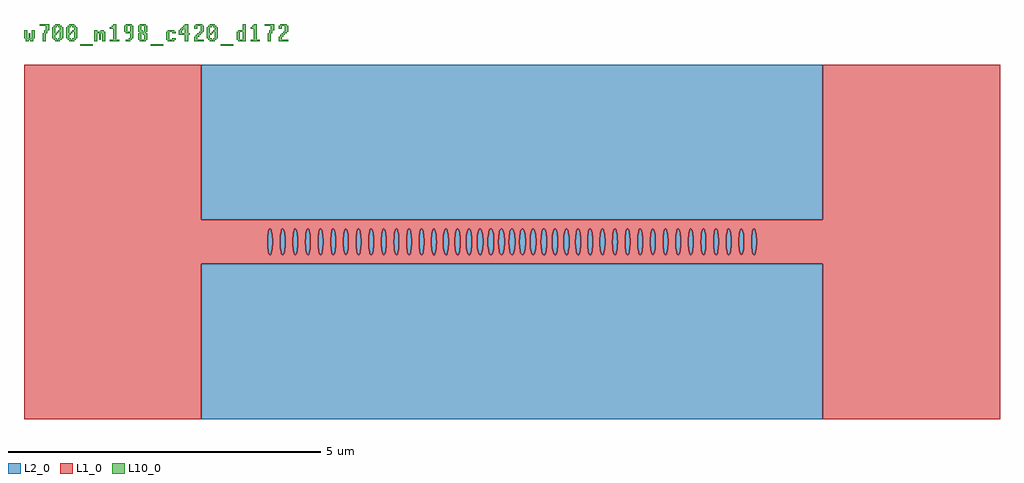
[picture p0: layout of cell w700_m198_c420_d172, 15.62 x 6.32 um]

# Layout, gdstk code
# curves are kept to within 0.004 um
import gdstk
lib = gdstk.Library(unit=1e-6, precision=1e-09)
def R(c, l, rs):  # rectangles x0, y0, x1, y1
    for r in rs: c.add(gdstk.rectangle(r[:2], r[2:], *l))
def A(c, l, x, y, w, h, nx, ny, dx, dy):  # array of equal rectangles
    R(c, l, [(x+i*dx, y+j*dy, x+i*dx+w, y+j*dy+h) for i in range(nx) for j in range(ny)])
def P(c, l, *ps):  # polygons
    for p in ps: c.add(gdstk.Polygon(p, *l))
L1_0 = (1, 0)
L2_0 = (2, 0)
L10_0 = (10, 0)

w700_m198_c420_d172 = lib.new_cell('w700_m198_c420_d172')
P(w700_m198_c420_d172, L1_0, [(-4.973,-2.835),(-4.973,-0.35),(-2.901,-0.35),(-2.901,0.35),(-4.973,0.35),(-4.973,2.835),(-7.808,2.835),(-7.808,-0.02),(-3.912,-0.02),(-3.911,0.059),(-3.899,0.159),(-3.885,0.198),(-3.87,0.21),(-3.855,0.191),(-3.843,0.145),(-3.834,0.078),(-3.832,-0.02),(-3.71,-0.02),(-3.702,0.13),(-3.69,0.182),(-3.683,0.198),(-3.668,0.21),(-3.653,0.191),(-3.64,0.145),(-3.629,-0.02),(-3.508,-0.02),(-3.506,0.059),(-3.494,0.159),(-3.481,0.198),(-3.465,0.21),(-3.451,0.191),(-3.438,0.145),(-3.427,-0.02),(-3.305,-0.02),(-3.304,0.059),(-3.292,0.159),(-3.278,0.198),(-3.263,0.21),(-3.248,0.191),(-3.236,0.145),(-3.225,-0.02),(-3.103,-0.02),(-3.099,0.096),(-3.083,0.182),(-3.069,0.208),(-3.061,0.21),(-3.046,0.191),(-3.029,0.114),(-3.022,-0.02),(-3.039,-0.171),(-3.053,-0.204),(-3.061,-0.21),(-3.076,-0.198),(-3.089,-0.159),(-3.103,-0.02),(-3.225,-0.02),(-3.236,-0.145),(-3.248,-0.191),(-3.263,-0.21),(-3.278,-0.198),(-3.292,-0.159),(-3.305,-0.02),(-3.427,-0.02),(-3.438,-0.145),(-3.451,-0.191),(-3.465,-0.21),(-3.481,-0.198),(-3.494,-0.159),(-3.508,-0.02),(-3.629,-0.02),(-3.64,-0.145),(-3.653,-0.191),(-3.668,-0.21),(-3.683,-0.198),(-3.696,-0.159),(-3.71,-0.02),(-3.832,-0.02),(-3.843,-0.145),(-3.855,-0.191),(-3.87,-0.21),(-3.885,-0.198),(-3.899,-0.159),(-3.912,-0.02),(-7.808,-0.02),(-7.808,-2.835)],
  [(-1.888,0.059),(-1.881,0.13),(-1.881,0.35),(-2.901,0.35),(-2.901,0.02),(-2.887,0.159),(-2.874,0.198),(-2.859,0.21),(-2.844,0.191),(-2.831,0.145),(-2.82,-0.02),(-2.699,-0.02),(-2.697,0.059),(-2.685,0.159),(-2.671,0.198),(-2.656,0.21),(-2.641,0.191),(-2.629,0.145),(-2.618,-0.02),(-2.496,-0.02),(-2.488,0.13),(-2.476,0.182),(-2.462,0.208),(-2.454,0.21),(-2.439,0.191),(-2.427,0.145),(-2.418,0.078),(-2.415,-0.02),(-2.294,-0.02),(-2.29,0.096),(-2.28,0.159),(-2.267,0.198),(-2.252,0.21),(-2.237,0.191),(-2.224,0.145),(-2.213,-0.02),(-2.092,-0.02),(-2.09,0.059),(-2.078,0.159),(-2.065,0.198),(-2.049,0.21),(-2.035,0.191),(-2.022,0.145),(-2.011,0),(-2.022,-0.145),(-2.035,-0.191),(-2.049,-0.21),(-2.065,-0.198),(-2.078,-0.159),(-2.092,-0.02),(-2.213,-0.02),(-2.224,-0.145),(-2.237,-0.191),(-2.252,-0.21),(-2.267,-0.198),(-2.28,-0.159),(-2.294,-0.02),(-2.415,-0.02),(-2.432,-0.171),(-2.446,-0.204),(-2.454,-0.21),(-2.469,-0.198),(-2.482,-0.159),(-2.496,-0.02),(-2.618,-0.02),(-2.629,-0.145),(-2.641,-0.191),(-2.656,-0.21),(-2.671,-0.198),(-2.685,-0.159),(-2.699,-0.02),(-2.82,-0.02),(-2.831,-0.145),(-2.844,-0.191),(-2.859,-0.21),(-2.874,-0.198),(-2.887,-0.159),(-2.901,-0.02),(-2.901,-0.35),(-1.881,-0.35)],
  [(-0.914,0.059),(-0.906,0.131),(-0.893,0.183),(-0.893,0.35),(-1.881,0.35),(-1.881,0.13),(-1.869,0.182),(-1.855,0.208),(-1.847,0.21),(-1.832,0.191),(-1.811,0.078),(-1.809,-0.02),(-1.688,-0.02),(-1.686,0.059),(-1.674,0.159),(-1.661,0.199),(-1.645,0.21),(-1.63,0.191),(-1.618,0.145),(-1.609,0.078),(-1.606,-0.02),(-1.488,-0.02),(-1.48,0.13),(-1.461,0.199),(-1.445,0.21),(-1.43,0.191),(-1.417,0.145),(-1.406,-0.02),(-1.293,-0.02),(-1.284,0.13),(-1.272,0.183),(-1.257,0.209),(-1.248,0.211),(-1.233,0.192),(-1.22,0.145),(-1.211,0.078),(-1.208,-0.02),(-1.102,-0.02),(-1.097,0.097),(-1.087,0.16),(-1.072,0.199),(-1.056,0.211),(-1.04,0.192),(-1.026,0.146),(-1.014,0),(-1.026,-0.146),(-1.04,-0.192),(-1.056,-0.211),(-1.072,-0.199),(-1.087,-0.16),(-1.102,-0.02),(-1.208,-0.02),(-1.22,-0.145),(-1.233,-0.192),(-1.248,-0.211),(-1.264,-0.199),(-1.278,-0.159),(-1.293,-0.02),(-1.406,-0.02),(-1.417,-0.145),(-1.43,-0.191),(-1.445,-0.21),(-1.461,-0.199),(-1.474,-0.159),(-1.488,-0.02),(-1.606,-0.02),(-1.618,-0.145),(-1.63,-0.191),(-1.645,-0.21),(-1.661,-0.199),(-1.674,-0.159),(-1.688,-0.02),(-1.809,-0.02),(-1.82,-0.145),(-1.839,-0.204),(-1.855,-0.208),(-1.862,-0.198),(-1.881,-0.13),(-1.881,-0.35),(-0.893,-0.35),(-0.893,-0.183),(-0.911,-0.097)],
  [(-0.048,0.059),(-0.033,0.159),(-0.016,0.198),(0.002,0.21),(0.002,0.35),(-0.893,0.35),(-0.893,0.183),(-0.877,0.209),(-0.868,0.211),(-0.844,0.172),(-0.829,0.078),(-0.825,-0.02),(-0.735,-0.02),(-0.73,0.097),(-0.719,0.16),(-0.703,0.199),(-0.686,0.211),(-0.669,0.192),(-0.655,0.146),(-0.642,0.04),(-0.642,-0.02),(-0.559,-0.02),(-0.549,0.13),(-0.535,0.183),(-0.518,0.209),(-0.509,0.211),(-0.491,0.192),(-0.476,0.145),(-0.466,0.078),(-0.463,-0.02),(-0.387,-0.02),(-0.385,0.059),(-0.37,0.159),(-0.354,0.199),(-0.335,0.21),(-0.317,0.191),(-0.302,0.145),(-0.292,0.078),(-0.289,-0.02),(-0.218,-0.02),(-0.216,0.059),(-0.201,0.159),(-0.184,0.199),(-0.166,0.21),(-0.147,0.191),(-0.132,0.145),(-0.118,0),(-0.132,-0.145),(-0.147,-0.191),(-0.166,-0.21),(-0.184,-0.199),(-0.201,-0.159),(-0.218,-0.02),(-0.289,-0.02),(-0.302,-0.145),(-0.317,-0.191),(-0.335,-0.21),(-0.354,-0.199),(-0.37,-0.159),(-0.387,-0.02),(-0.463,-0.02),(-0.476,-0.145),(-0.491,-0.192),(-0.509,-0.211),(-0.527,-0.199),(-0.542,-0.159),(-0.554,-0.097),(-0.559,-0.02),(-0.642,-0.02),(-0.655,-0.146),(-0.669,-0.192),(-0.686,-0.211),(-0.703,-0.199),(-0.719,-0.16),(-0.735,-0.02),(-0.825,-0.02),(-0.838,-0.146),(-0.852,-0.192),(-0.868,-0.211),(-0.877,-0.209),(-0.893,-0.183),(-0.893,-0.35),(0.002,-0.35),(0.002,-0.21),(-0.007,-0.208),(-0.025,-0.182),(-0.04,-0.13),(-0.05,-0.02)],
  [(0.827,0.059),(0.835,0.131),(0.848,0.183),(0.864,0.209),(0.873,0.211),(0.889,0.192),(0.889,0.35),(0.002,0.35),(0.002,0.21),(0.021,0.191),(0.036,0.145),(0.047,0.078),(0.05,-0.02),(0.118,-0.02),(0.12,0.059),(0.135,0.159),(0.152,0.199),(0.17,0.21),(0.189,0.191),(0.204,0.145),(0.214,0.078),(0.218,-0.02),(0.289,-0.02),(0.299,0.13),(0.313,0.182),(0.322,0.199),(0.34,0.21),(0.358,0.191),(0.373,0.145),(0.383,0.078),(0.387,-0.02),(0.463,-0.02),(0.468,0.097),(0.479,0.159),(0.495,0.199),(0.513,0.211),(0.531,0.192),(0.546,0.145),(0.559,-0.02),(0.642,-0.02),(0.647,0.097),(0.658,0.16),(0.673,0.199),(0.69,0.211),(0.708,0.192),(0.722,0.146),(0.735,0),(0.722,-0.146),(0.708,-0.192),(0.69,-0.211),(0.673,-0.199),(0.658,-0.16),(0.642,-0.02),(0.559,-0.02),(0.546,-0.145),(0.531,-0.192),(0.513,-0.211),(0.495,-0.199),(0.479,-0.159),(0.463,-0.02),(0.387,-0.02),(0.373,-0.145),(0.358,-0.191),(0.34,-0.21),(0.322,-0.199),(0.306,-0.159),(0.294,-0.096),(0.289,-0.02),(0.218,-0.02),(0.204,-0.145),(0.189,-0.191),(0.17,-0.21),(0.152,-0.199),(0.135,-0.159),(0.118,-0.02),(0.05,-0.02),(0.036,-0.145),(0.021,-0.191),(0.002,-0.21),(0.002,-0.35),(0.889,-0.35),(0.889,-0.192),(0.873,-0.211),(0.864,-0.209),(0.841,-0.16),(0.827,-0.059)],
  [(1.81,0.059),(1.823,0.159),(1.843,0.208),(1.859,0.204),(1.878,0.145),(1.878,0.35),(0.889,0.35),(0.889,0.192),(0.909,0.114),(0.916,-0.02),(1.015,-0.02),(1.016,0.059),(1.029,0.16),(1.044,0.199),(1.06,0.211),(1.076,0.192),(1.09,0.146),(1.099,0.078),(1.102,-0.02),(1.208,-0.02),(1.217,0.13),(1.229,0.183),(1.244,0.209),(1.252,0.211),(1.268,0.192),(1.281,0.145),(1.29,0.078),(1.293,-0.02),(1.406,-0.02),(1.407,0.059),(1.42,0.159),(1.434,0.199),(1.449,0.21),(1.464,0.191),(1.477,0.145),(1.486,0.078),(1.489,-0.02),(1.607,-0.02),(1.615,0.13),(1.634,0.199),(1.649,0.21),(1.664,0.191),(1.677,0.145),(1.688,0),(1.677,-0.145),(1.664,-0.191),(1.649,-0.21),(1.634,-0.199),(1.621,-0.159),(1.607,-0.02),(1.489,-0.02),(1.477,-0.145),(1.464,-0.191),(1.449,-0.21),(1.434,-0.199),(1.42,-0.159),(1.406,-0.02),(1.293,-0.02),(1.281,-0.145),(1.268,-0.192),(1.252,-0.211),(1.237,-0.199),(1.223,-0.159),(1.208,-0.02),(1.102,-0.02),(1.09,-0.146),(1.076,-0.192),(1.06,-0.211),(1.044,-0.199),(1.029,-0.16),(1.015,-0.02),(0.916,-0.02),(0.909,-0.114),(0.889,-0.192),(0.889,-0.35),(1.878,-0.35),(1.878,-0.145),(1.859,-0.204),(1.843,-0.208),(1.829,-0.182),(1.81,-0.059)],
  [(2.822,0.059),(2.84,0.182),(2.847,0.198),(2.862,0.21),(2.877,0.191),(2.89,0.145),(2.9,0.04),(2.9,0.35),(1.878,0.35),(1.878,0.145),(1.887,0.078),(1.889,-0.02),(2.011,-0.02),(2.012,0.059),(2.025,0.159),(2.038,0.198),(2.053,0.21),(2.068,0.191),(2.081,0.145),(2.092,-0.02),(2.213,-0.02),(2.215,0.059),(2.227,0.159),(2.24,0.198),(2.256,0.21),(2.27,0.191),(2.283,0.145),(2.294,-0.02),(2.416,-0.02),(2.417,0.059),(2.429,0.159),(2.443,0.198),(2.458,0.21),(2.473,0.191),(2.485,0.145),(2.496,-0.02),(2.618,-0.02),(2.626,0.13),(2.638,0.182),(2.652,0.208),(2.66,0.21),(2.675,0.191),(2.688,0.145),(2.699,0),(2.688,-0.145),(2.675,-0.191),(2.66,-0.21),(2.645,-0.198),(2.632,-0.159),(2.618,-0.02),(2.496,-0.02),(2.485,-0.145),(2.473,-0.191),(2.458,-0.21),(2.443,-0.198),(2.429,-0.159),(2.416,-0.02),(2.294,-0.02),(2.283,-0.145),(2.27,-0.191),(2.256,-0.21),(2.24,-0.198),(2.227,-0.159),(2.213,-0.02),(2.092,-0.02),(2.081,-0.145),(2.068,-0.191),(2.053,-0.21),(2.038,-0.198),(2.025,-0.159),(2.011,-0.02),(1.889,-0.02),(1.878,-0.145),(1.878,-0.35),(2.9,-0.35),(2.9,-0.04),(2.895,-0.114),(2.884,-0.171),(2.87,-0.204),(2.862,-0.21),(2.847,-0.198),(2.834,-0.159),(2.825,-0.096)],
  [(2.9,-0.35),(4.973,-0.35),(4.973,-2.835),(7.808,-2.835),(7.808,2.835),(4.973,2.835),(4.973,0.35),(2.9,0.35),(2.901,-0.02),(3.023,-0.02),(3.024,0.059),(3.036,0.159),(3.05,0.198),(3.065,0.21),(3.08,0.191),(3.092,0.145),(3.103,-0.02),(3.225,-0.02),(3.233,0.13),(3.245,0.182),(3.259,0.208),(3.267,0.21),(3.282,0.191),(3.294,0.145),(3.303,0.078),(3.306,-0.02),(3.427,-0.02),(3.431,0.096),(3.441,0.159),(3.454,0.198),(3.469,0.21),(3.484,0.191),(3.497,0.145),(3.508,-0.02),(3.629,-0.02),(3.631,0.059),(3.643,0.159),(3.656,0.198),(3.672,0.21),(3.687,0.191),(3.699,0.145),(3.71,-0.02),(3.832,-0.02),(3.84,0.13),(3.852,0.182),(3.866,0.208),(3.882,0.204),(3.895,0.171),(3.912,0.04),(3.906,-0.114),(3.889,-0.191),(3.874,-0.21),(3.859,-0.198),(3.846,-0.159),(3.832,-0.02),(3.71,-0.02),(3.699,-0.145),(3.687,-0.191),(3.672,-0.21),(3.656,-0.198),(3.643,-0.159),(3.629,-0.02),(3.508,-0.02),(3.497,-0.145),(3.484,-0.191),(3.469,-0.21),(3.454,-0.198),(3.441,-0.159),(3.427,-0.02),(3.306,-0.02),(3.289,-0.171),(3.275,-0.204),(3.267,-0.21),(3.252,-0.198),(3.239,-0.159),(3.225,-0.02),(3.103,-0.02),(3.092,-0.145),(3.08,-0.191),(3.065,-0.21),(3.05,-0.198),(3.036,-0.159),(3.023,-0.02),(2.901,-0.02)])
R(w700_m198_c420_d172, L2_0, [(-4.973,-2.835,4.973,-0.35), (-4.973,0.35,4.973,2.835)])
P(w700_m198_c420_d172, L2_0, [(2.825,-0.096),(2.84,-0.182),(2.847,-0.198),(2.862,-0.21),(2.87,-0.204),(2.884,-0.171),(2.895,-0.114),(2.901,-0.02),(2.895,0.114),(2.884,0.171),(2.87,0.204),(2.862,0.21),(2.847,0.198),(2.84,0.182),(2.829,0.13),(2.82,0.02)],
  [(-3.706,-0.096),(-3.69,-0.182),(-3.683,-0.198),(-3.668,-0.21),(-3.66,-0.204),(-3.646,-0.171),(-3.636,-0.114),(-3.629,-0.02),(-3.632,0.078),(-3.646,0.171),(-3.66,0.204),(-3.668,0.21),(-3.683,0.198),(-3.69,0.182),(-3.702,0.13),(-3.71,0.02)],
  [(3.634,-0.096),(3.649,-0.182),(3.664,-0.208),(3.672,-0.21),(3.687,-0.191),(3.704,-0.114),(3.71,-0.02),(3.704,0.114),(3.687,0.191),(3.672,0.21),(3.664,0.208),(3.649,0.182),(3.638,0.13),(3.629,0.02)],
  [(3.507,0.04),(3.497,0.145),(3.477,0.204),(3.469,0.21),(3.454,0.198),(3.436,0.13),(3.427,0.02),(3.431,-0.096),(3.447,-0.182),(3.454,-0.198),(3.469,-0.21),(3.484,-0.191),(3.497,-0.145),(3.505,-0.078)],
  [(3.305,0.04),(3.294,0.145),(3.275,0.204),(3.259,0.208),(3.252,0.198),(3.233,0.13),(3.225,0.02),(3.229,-0.096),(3.245,-0.182),(3.259,-0.208),(3.267,-0.21),(3.275,-0.204),(3.289,-0.171),(3.299,-0.114)],
  [(3.1,0.078),(3.086,0.171),(3.08,0.191),(3.065,0.21),(3.057,0.208),(3.043,0.182),(3.031,0.13),(3.023,0.02),(3.027,-0.096),(3.043,-0.182),(3.057,-0.208),(3.065,-0.21),(3.08,-0.191),(3.097,-0.114),(3.103,-0.04)],
  [(-3.834,0.078),(-3.849,0.171),(-3.855,0.191),(-3.87,0.21),(-3.878,0.208),(-3.892,0.182),(-3.904,0.13),(-3.912,0.02),(-3.908,-0.096),(-3.892,-0.182),(-3.878,-0.208),(-3.87,-0.21),(-3.855,-0.191),(-3.838,-0.114),(-3.832,-0.04)],
  [(2.698,0.04),(2.688,0.145),(2.668,0.204),(2.652,0.208),(2.645,0.198),(2.626,0.13),(2.618,0.02),(2.622,-0.096),(2.638,-0.182),(2.652,-0.208),(2.66,-0.21),(2.675,-0.191),(2.688,-0.145),(2.696,-0.078)],
  [(2.493,0.078),(2.479,0.171),(2.473,0.191),(2.458,0.21),(2.45,0.208),(2.436,0.182),(2.424,0.13),(2.416,0.02),(2.42,-0.096),(2.436,-0.182),(2.45,-0.208),(2.458,-0.21),(2.473,-0.191),(2.49,-0.114),(2.496,-0.04)],
  [(2.293,0.04),(2.283,0.145),(2.263,0.204),(2.248,0.208),(2.24,0.198),(2.222,0.13),(2.213,0.02),(2.218,-0.096),(2.233,-0.182),(2.248,-0.208),(2.256,-0.21),(2.277,-0.171),(2.288,-0.114)],
  [(2.091,0.04),(2.081,0.145),(2.061,0.204),(2.053,0.21),(2.038,0.198),(2.02,0.13),(2.011,0.02),(2.015,-0.096),(2.031,-0.182),(2.038,-0.198),(2.053,-0.21),(2.068,-0.191),(2.081,-0.145),(2.089,-0.078)],
  [(1.887,0.078),(1.872,0.171),(1.866,0.191),(1.851,0.21),(1.843,0.208),(1.829,0.182),(1.817,0.13),(1.809,0.02),(1.813,-0.096),(1.829,-0.182),(1.843,-0.208),(1.851,-0.21),(1.866,-0.191),(1.883,-0.114),(1.889,-0.04)],
  [(1.687,0.04),(1.677,0.145),(1.657,0.204),(1.649,0.21),(1.634,0.199),(1.615,0.13),(1.607,0.02),(1.611,-0.096),(1.627,-0.182),(1.641,-0.208),(1.649,-0.21),(1.664,-0.191),(1.677,-0.145),(1.685,-0.078)],
  [(1.488,0.04),(1.477,0.145),(1.457,0.205),(1.441,0.208),(1.434,0.199),(1.415,0.13),(1.406,0.02),(1.41,-0.096),(1.427,-0.182),(1.441,-0.208),(1.449,-0.21),(1.457,-0.205),(1.471,-0.171),(1.482,-0.114)],
  [(1.292,0.04),(1.281,0.145),(1.26,0.205),(1.244,0.209),(1.237,0.199),(1.217,0.13),(1.208,0.02),(1.213,-0.097),(1.229,-0.183),(1.244,-0.209),(1.252,-0.211),(1.268,-0.192),(1.286,-0.114)],
  [(1.101,0.04),(1.09,0.146),(1.068,0.205),(1.06,0.211),(1.044,0.199),(1.024,0.13),(1.015,0.02),(1.019,-0.097),(1.036,-0.183),(1.052,-0.209),(1.06,-0.211),(1.076,-0.192),(1.09,-0.146),(1.099,-0.078)],
  [(0.915,0.04),(0.903,0.146),(0.881,0.205),(0.873,0.211),(0.856,0.2),(0.835,0.131),(0.826,0.02),(0.83,-0.097),(0.848,-0.183),(0.864,-0.209),(0.873,-0.211),(0.897,-0.172),(0.909,-0.114)],
  [(0.734,0.04),(0.722,0.146),(0.699,0.205),(0.69,0.211),(0.673,0.199),(0.652,0.13),(0.642,0.02),(0.647,-0.097),(0.665,-0.183),(0.673,-0.199),(0.69,-0.211),(0.708,-0.192),(0.722,-0.146),(0.732,-0.078)],
  [(0.558,0.04),(0.546,0.145),(0.522,0.205),(0.513,0.211),(0.495,0.199),(0.473,0.13),(0.463,0.02),(0.468,-0.097),(0.487,-0.183),(0.504,-0.209),(0.513,-0.211),(0.531,-0.192),(0.546,-0.145),(0.558,-0.04)],
  [(0.386,0.04),(0.373,0.145),(0.349,0.205),(0.34,0.21),(0.322,0.199),(0.299,0.13),(0.289,0.02),(0.294,-0.096),(0.313,-0.182),(0.322,-0.199),(0.34,-0.21),(0.358,-0.191),(0.379,-0.114)],
  [(0.217,0.04),(0.204,0.145),(0.18,0.204),(0.17,0.21),(0.152,0.199),(0.129,0.13),(0.118,0.02),(0.124,-0.096),(0.143,-0.182),(0.152,-0.199),(0.17,-0.21),(0.189,-0.191),(0.21,-0.114)],
  [(0.049,0.04),(0.036,0.145),(0.012,0.204),(0.002,0.21),(-0.016,0.198),(-0.04,0.13),(-0.05,0.02),(-0.045,-0.096),(-0.025,-0.182),(-0.007,-0.208),(0.002,-0.21),(0.021,-0.191),(0.042,-0.114)],
  [(-0.119,0.04),(-0.132,0.145),(-0.156,0.204),(-0.166,0.21),(-0.184,0.199),(-0.207,0.13),(-0.218,0.02),(-0.212,-0.096),(-0.193,-0.182),(-0.184,-0.199),(-0.166,-0.21),(-0.147,-0.191),(-0.126,-0.114)],
  [(-0.29,0.04),(-0.302,0.145),(-0.326,0.205),(-0.345,0.208),(-0.354,0.199),(-0.37,0.159),(-0.385,0.059),(-0.385,-0.059),(-0.37,-0.159),(-0.345,-0.208),(-0.326,-0.205),(-0.302,-0.145),(-0.292,-0.078)],
  [(-0.464,0.04),(-0.476,0.145),(-0.5,0.205),(-0.509,0.211),(-0.527,0.199),(-0.549,0.13),(-0.559,0.02),(-0.554,-0.097),(-0.535,-0.183),(-0.518,-0.209),(-0.509,-0.211),(-0.491,-0.192),(-0.47,-0.114)],
  [(-0.645,0.078),(-0.661,0.172),(-0.677,0.205),(-0.686,0.211),(-0.695,0.209),(-0.712,0.183),(-0.73,0.097),(-0.735,0.02),(-0.73,-0.097),(-0.712,-0.183),(-0.695,-0.209),(-0.686,-0.211),(-0.677,-0.205),(-0.661,-0.172),(-0.649,-0.114),(-0.642,-0.04)],
  [(-0.826,0.04),(-0.838,0.146),(-0.86,0.205),(-0.868,0.211),(-0.885,0.2),(-0.906,0.131),(-0.916,0.02),(-0.911,-0.097),(-0.893,-0.183),(-0.877,-0.209),(-0.868,-0.211),(-0.852,-0.192),(-0.838,-0.146),(-0.826,-0.04)],
  [(-1.015,0.04),(-1.026,0.146),(-1.048,0.205),(-1.056,0.211),(-1.072,0.199),(-1.092,0.13),(-1.102,0.02),(-1.097,-0.097),(-1.08,-0.183),(-1.064,-0.209),(-1.056,-0.211),(-1.04,-0.192),(-1.026,-0.146),(-1.017,-0.078)],
  [(-1.209,0.04),(-1.22,0.145),(-1.24,0.205),(-1.248,0.211),(-1.257,0.209),(-1.264,0.199),(-1.284,0.13),(-1.293,0.02),(-1.288,-0.097),(-1.272,-0.183),(-1.257,-0.209),(-1.248,-0.211),(-1.24,-0.205),(-1.226,-0.172),(-1.215,-0.114)],
  [(-1.407,0.04),(-1.417,0.145),(-1.437,0.205),(-1.445,0.21),(-1.461,0.199),(-1.48,0.13),(-1.488,0.02),(-1.484,-0.096),(-1.468,-0.182),(-1.461,-0.199),(-1.445,-0.21),(-1.437,-0.205),(-1.423,-0.171),(-1.412,-0.114)],
  [(-1.607,0.04),(-1.618,0.145),(-1.638,0.204),(-1.645,0.21),(-1.661,0.199),(-1.679,0.13),(-1.688,0.02),(-1.683,-0.096),(-1.668,-0.182),(-1.661,-0.199),(-1.645,-0.21),(-1.63,-0.191),(-1.613,-0.114)],
  [(-1.811,0.078),(-1.826,0.171),(-1.832,0.191),(-1.847,0.21),(-1.855,0.208),(-1.869,0.182),(-1.881,0.13),(-1.889,0.02),(-1.885,-0.096),(-1.869,-0.182),(-1.855,-0.208),(-1.847,-0.21),(-1.832,-0.191),(-1.815,-0.114),(-1.809,-0.04)],
  [(-2.012,0.04),(-2.022,0.145),(-2.042,0.204),(-2.057,0.208),(-2.065,0.198),(-2.083,0.13),(-2.092,0.02),(-2.087,-0.096),(-2.072,-0.182),(-2.057,-0.208),(-2.049,-0.21),(-2.028,-0.171),(-2.017,-0.114)],
  [(-2.214,0.04),(-2.224,0.145),(-2.244,0.204),(-2.252,0.21),(-2.267,0.198),(-2.285,0.13),(-2.294,0.02),(-2.29,-0.096),(-2.274,-0.182),(-2.267,-0.198),(-2.252,-0.21),(-2.237,-0.191),(-2.224,-0.145),(-2.216,-0.078)],
  [(-2.416,0.04),(-2.427,0.145),(-2.446,0.204),(-2.462,0.208),(-2.469,0.198),(-2.488,0.13),(-2.496,0.02),(-2.492,-0.096),(-2.476,-0.182),(-2.462,-0.208),(-2.454,-0.21),(-2.446,-0.204),(-2.432,-0.171),(-2.422,-0.114)],
  [(-2.621,0.078),(-2.635,0.171),(-2.641,0.191),(-2.656,0.21),(-2.664,0.208),(-2.678,0.182),(-2.69,0.13),(-2.699,0.02),(-2.694,-0.096),(-2.678,-0.182),(-2.664,-0.208),(-2.656,-0.21),(-2.641,-0.191),(-2.624,-0.114),(-2.618,-0.04)],
  [(-2.821,0.04),(-2.831,0.145),(-2.851,0.204),(-2.859,0.21),(-2.874,0.198),(-2.892,0.13),(-2.901,0.02),(-2.896,-0.096),(-2.881,-0.182),(-2.874,-0.198),(-2.859,-0.21),(-2.851,-0.204),(-2.837,-0.171),(-2.826,-0.114)],
  [(-3.023,0.04),(-3.034,0.145),(-3.053,0.204),(-3.069,0.208),(-3.076,0.198),(-3.095,0.13),(-3.103,0.02),(-3.099,-0.096),(-3.083,-0.182),(-3.069,-0.208),(-3.061,-0.21),(-3.053,-0.204),(-3.039,-0.171),(-3.029,-0.114)],
  [(-3.228,0.078),(-3.242,0.171),(-3.248,0.191),(-3.263,0.21),(-3.271,0.208),(-3.285,0.182),(-3.297,0.13),(-3.305,0.02),(-3.301,-0.096),(-3.285,-0.182),(-3.271,-0.208),(-3.263,-0.21),(-3.248,-0.191),(-3.231,-0.114),(-3.225,-0.04)],
  [(-3.428,0.04),(-3.438,0.145),(-3.458,0.204),(-3.473,0.208),(-3.481,0.198),(-3.499,0.13),(-3.508,0.02),(-3.503,-0.096),(-3.488,-0.182),(-3.473,-0.208),(-3.465,-0.21),(-3.444,-0.171),(-3.433,-0.114)],
  [(3.836,-0.096),(3.852,-0.182),(3.866,-0.208),(3.874,-0.21),(3.889,-0.191),(3.906,-0.114),(3.912,-0.04),(3.91,0.078),(3.895,0.171),(3.889,0.191),(3.874,0.21),(3.866,0.208),(3.852,0.182),(3.84,0.13),(3.832,0.02)])
A(w700_m198_c420_d172, L10_0, -6.908, 3.135, 0.2, 0.025, 3, 1, 1.125, 0)
R(w700_m198_c420_d172, L10_0, [(-7.283,3.335,-7.258,3.36), (-7.058,3.335,-7.033,3.36), (-4.808,3.335,-4.783,3.36)])
P(w700_m198_c420_d172, L10_0, [(-7.783,3.26),(-7.783,3.21),(-7.733,3.21),(-7.733,3.235),(-7.708,3.235),(-7.708,3.21),(-7.658,3.21),(-7.658,3.26),(-7.633,3.26),(-7.633,3.385),(-7.683,3.385),(-7.683,3.26),(-7.708,3.26),(-7.708,3.335),(-7.733,3.335),(-7.733,3.26),(-7.758,3.26),(-7.758,3.385),(-7.808,3.385),(-7.808,3.26)],
  [(-7.458,3.385),(-7.483,3.385),(-7.483,3.335),(-7.508,3.335),(-7.508,3.21),(-7.458,3.21),(-7.458,3.335),(-7.433,3.335),(-7.433,3.385),(-7.408,3.385),(-7.408,3.485),(-7.558,3.485),(-7.558,3.46),(-7.458,3.46)],
  [(-7.208,3.26),(-7.183,3.26),(-7.183,3.435),(-7.208,3.435),(-7.208,3.46),(-7.233,3.46),(-7.233,3.485),(-7.308,3.485),(-7.308,3.46),(-7.333,3.46),(-7.333,3.435),(-7.358,3.435),(-7.358,3.26),(-7.308,3.26),(-7.308,3.31),(-7.283,3.31),(-7.283,3.335),(-7.308,3.335),(-7.308,3.435),(-7.283,3.435),(-7.283,3.46),(-7.258,3.46),(-7.258,3.435),(-7.233,3.435),(-7.233,3.385),(-7.258,3.385),(-7.258,3.36),(-7.233,3.36),(-7.233,3.26),(-7.258,3.26),(-7.258,3.235),(-7.283,3.235),(-7.283,3.26),(-7.308,3.26),(-7.358,3.26),(-7.333,3.26),(-7.333,3.235),(-7.308,3.235),(-7.308,3.21),(-7.233,3.21),(-7.233,3.235),(-7.208,3.235)],
  [(-6.983,3.26),(-6.958,3.26),(-6.958,3.435),(-6.983,3.435),(-6.983,3.46),(-7.008,3.46),(-7.008,3.485),(-7.083,3.485),(-7.083,3.46),(-7.108,3.46),(-7.108,3.435),(-7.133,3.435),(-7.133,3.26),(-7.083,3.26),(-7.083,3.31),(-7.058,3.31),(-7.058,3.335),(-7.083,3.335),(-7.083,3.435),(-7.058,3.435),(-7.058,3.46),(-7.033,3.46),(-7.033,3.435),(-7.008,3.435),(-7.008,3.385),(-7.033,3.385),(-7.033,3.36),(-7.008,3.36),(-7.008,3.26),(-7.033,3.26),(-7.033,3.235),(-7.058,3.235),(-7.058,3.26),(-7.083,3.26),(-7.133,3.26),(-7.108,3.26),(-7.108,3.235),(-7.083,3.235),(-7.083,3.21),(-7.008,3.21),(-7.008,3.235),(-6.983,3.235)],
  [(-6.633,3.21),(-6.633,3.335),(-6.608,3.335),(-6.608,3.235),(-6.583,3.235),(-6.583,3.335),(-6.558,3.335),(-6.558,3.21),(-6.508,3.21),(-6.508,3.36),(-6.533,3.36),(-6.533,3.385),(-6.583,3.385),(-6.583,3.36),(-6.633,3.36),(-6.633,3.385),(-6.683,3.385),(-6.683,3.21)],
  [(-6.408,3.435),(-6.433,3.435),(-6.433,3.41),(-6.383,3.41),(-6.383,3.235),(-6.433,3.235),(-6.433,3.21),(-6.283,3.21),(-6.283,3.235),(-6.333,3.235),(-6.333,3.485),(-6.383,3.485),(-6.383,3.46),(-6.408,3.46)],
  [(-6.108,3.26),(-6.133,3.26),(-6.133,3.235),(-6.183,3.235),(-6.183,3.21),(-6.108,3.21),(-6.108,3.235),(-6.083,3.235),(-6.083,3.26),(-6.058,3.26),(-6.058,3.46),(-6.083,3.46),(-6.083,3.485),(-6.183,3.485),(-6.183,3.46),(-6.208,3.46),(-6.208,3.36),(-6.158,3.36),(-6.158,3.46),(-6.108,3.46),(-6.108,3.36),(-6.158,3.36),(-6.208,3.36),(-6.183,3.36),(-6.183,3.335),(-6.108,3.335)],
  [(-5.833,3.335),(-5.858,3.335),(-5.858,3.36),(-5.833,3.36),(-5.833,3.46),(-5.858,3.46),(-5.858,3.485),(-5.958,3.485),(-5.958,3.46),(-5.983,3.46),(-5.983,3.385),(-5.933,3.385),(-5.933,3.46),(-5.883,3.46),(-5.883,3.36),(-5.908,3.36),(-5.908,3.385),(-5.933,3.385),(-5.983,3.385),(-5.983,3.36),(-5.958,3.36),(-5.958,3.335),(-5.983,3.335),(-5.983,3.235),(-5.933,3.235),(-5.933,3.335),(-5.908,3.335),(-5.908,3.31),(-5.883,3.31),(-5.883,3.235),(-5.933,3.235),(-5.983,3.235),(-5.958,3.235),(-5.958,3.21),(-5.858,3.21),(-5.858,3.235),(-5.833,3.235)],
  [(-5.533,3.235),(-5.508,3.235),(-5.508,3.21),(-5.408,3.21),(-5.408,3.235),(-5.383,3.235),(-5.383,3.26),(-5.433,3.26),(-5.433,3.235),(-5.483,3.235),(-5.483,3.36),(-5.433,3.36),(-5.433,3.335),(-5.383,3.335),(-5.383,3.36),(-5.408,3.36),(-5.408,3.385),(-5.508,3.385),(-5.508,3.36),(-5.533,3.36)],
  [(-5.183,3.21),(-5.183,3.31),(-5.158,3.31),(-5.158,3.335),(-5.183,3.335),(-5.183,3.485),(-5.233,3.485),(-5.233,3.46),(-5.258,3.46),(-5.258,3.435),(-5.283,3.435),(-5.283,3.41),(-5.308,3.41),(-5.308,3.385),(-5.333,3.385),(-5.333,3.335),(-5.283,3.335),(-5.283,3.385),(-5.258,3.385),(-5.258,3.41),(-5.233,3.41),(-5.233,3.335),(-5.283,3.335),(-5.333,3.335),(-5.333,3.31),(-5.233,3.31),(-5.233,3.21)],
  [(-5.083,3.41),(-5.033,3.41),(-5.033,3.46),(-4.983,3.46),(-4.983,3.36),(-5.008,3.36),(-5.008,3.335),(-5.033,3.335),(-5.033,3.31),(-5.058,3.31),(-5.058,3.285),(-5.083,3.285),(-5.083,3.21),(-4.933,3.21),(-4.933,3.235),(-5.033,3.235),(-5.033,3.285),(-5.008,3.285),(-5.008,3.31),(-4.983,3.31),(-4.983,3.335),(-4.958,3.335),(-4.958,3.36),(-4.933,3.36),(-4.933,3.46),(-4.958,3.46),(-4.958,3.485),(-5.058,3.485),(-5.058,3.46),(-5.083,3.46)],
  [(-4.733,3.26),(-4.708,3.26),(-4.708,3.435),(-4.733,3.435),(-4.733,3.46),(-4.758,3.46),(-4.758,3.485),(-4.833,3.485),(-4.833,3.46),(-4.858,3.46),(-4.858,3.435),(-4.883,3.435),(-4.883,3.26),(-4.833,3.26),(-4.833,3.31),(-4.808,3.31),(-4.808,3.335),(-4.833,3.335),(-4.833,3.435),(-4.808,3.435),(-4.808,3.46),(-4.783,3.46),(-4.783,3.435),(-4.758,3.435),(-4.758,3.385),(-4.783,3.385),(-4.783,3.36),(-4.758,3.36),(-4.758,3.26),(-4.783,3.26),(-4.783,3.235),(-4.808,3.235),(-4.808,3.26),(-4.833,3.26),(-4.883,3.26),(-4.858,3.26),(-4.858,3.235),(-4.833,3.235),(-4.833,3.21),(-4.758,3.21),(-4.758,3.235),(-4.733,3.235)],
  [(-4.308,3.485),(-4.308,3.385),(-4.383,3.385),(-4.383,3.36),(-4.408,3.36),(-4.408,3.235),(-4.358,3.235),(-4.358,3.36),(-4.308,3.36),(-4.308,3.235),(-4.358,3.235),(-4.408,3.235),(-4.383,3.235),(-4.383,3.21),(-4.258,3.21),(-4.258,3.485)],
  [(-4.158,3.435),(-4.183,3.435),(-4.183,3.41),(-4.133,3.41),(-4.133,3.235),(-4.183,3.235),(-4.183,3.21),(-4.033,3.21),(-4.033,3.235),(-4.083,3.235),(-4.083,3.485),(-4.133,3.485),(-4.133,3.46),(-4.158,3.46)],
  [(-3.858,3.385),(-3.883,3.385),(-3.883,3.335),(-3.908,3.335),(-3.908,3.21),(-3.858,3.21),(-3.858,3.335),(-3.833,3.335),(-3.833,3.385),(-3.808,3.385),(-3.808,3.485),(-3.958,3.485),(-3.958,3.46),(-3.858,3.46)],
  [(-3.733,3.41),(-3.683,3.41),(-3.683,3.46),(-3.633,3.46),(-3.633,3.36),(-3.658,3.36),(-3.658,3.335),(-3.683,3.335),(-3.683,3.31),(-3.708,3.31),(-3.708,3.285),(-3.733,3.285),(-3.733,3.21),(-3.583,3.21),(-3.583,3.235),(-3.683,3.235),(-3.683,3.285),(-3.658,3.285),(-3.658,3.31),(-3.633,3.31),(-3.633,3.335),(-3.608,3.335),(-3.608,3.36),(-3.583,3.36),(-3.583,3.46),(-3.608,3.46),(-3.608,3.485),(-3.708,3.485),(-3.708,3.46),(-3.733,3.46)])

lib.write_gds('w700_m198_c420_d172.gds')
